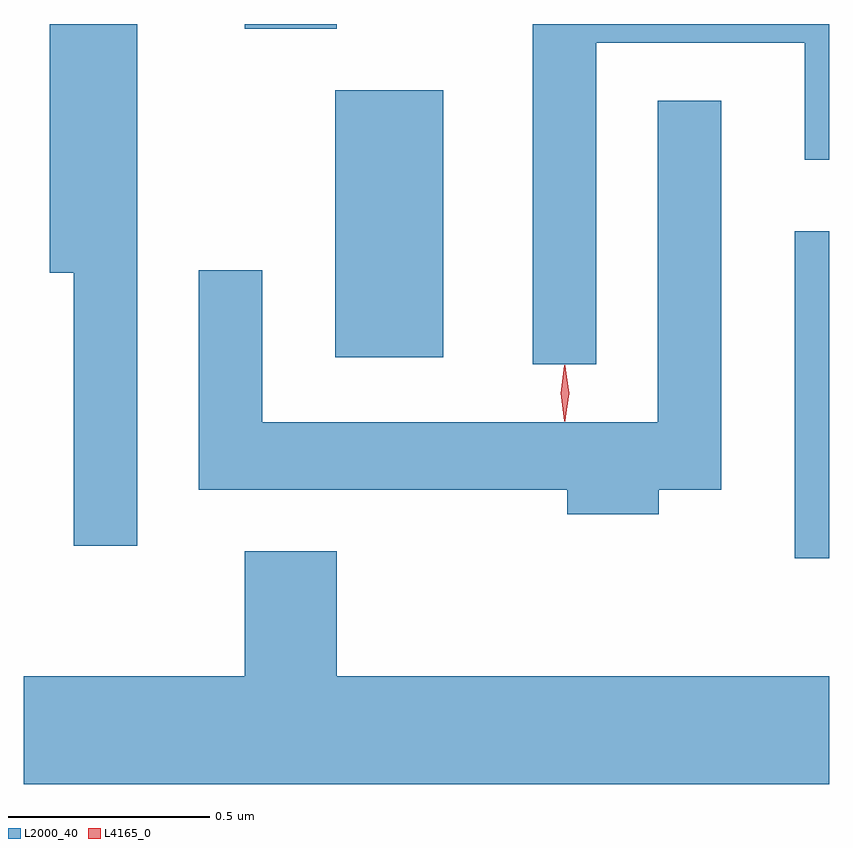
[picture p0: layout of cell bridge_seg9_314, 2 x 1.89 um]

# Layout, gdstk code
import gdstk
lib = gdstk.Library(unit=1e-6, precision=1e-09)
def R(c, l, rs):  # rectangles x0, y0, x1, y1
    for r in rs: c.add(gdstk.rectangle(r[:2], r[2:], *l))
def P(c, l, *ps):  # polygons
    for p in ps: c.add(gdstk.Polygon(p, *l))
L2000_40 = (2000, 40)
L4165_0 = (4165, 0)

bridge_seg9_314 = lib.new_cell('bridge_seg9_314')
R(bridge_seg9_314, L2000_40, [(988.226,2076.736,988.312,2077.549), (987.086,2077.236,987.354,2077.899), (986.861,2078.051,987.089,2078.063)])
P(bridge_seg9_314, L2000_40, [(987.734,2078.016),(988.251,2078.016),(988.251,2077.726),(988.312,2077.726),(988.312,2078.063),(987.576,2078.063),(987.576,2077.218),(987.734,2077.218)],
  [(986.594,2078.063),(986.376,2078.063),(986.376,2077.446),(986.436,2077.446),(986.436,2076.768),(986.594,2076.768)],
  [(987.889,2076.906),(988.044,2076.906),(988.044,2077.873),(987.886,2077.873),(987.886,2077.074),(986.904,2077.074),(986.904,2077.452),(986.746,2077.452),(986.746,2076.906),(987.661,2076.906),(987.661,2076.846),(987.889,2076.846)],
  [(988.312,2076.444),(987.089,2076.444),(987.089,2076.754),(986.861,2076.754),(986.861,2076.444),(986.312,2076.444),(986.312,2076.176),(988.312,2076.176)])
P(bridge_seg9_314, L4165_0, [(987.654,2077.077),(987.645,2077.146),(987.654,2077.216),(987.655,2077.216),(987.656,2077.216),(987.665,2077.146),(987.656,2077.077),(987.655,2077.077)],
  [(987.656,2077.079),(987.656,2077.08),(987.646,2077.146),(987.656,2077.212),(987.656,2077.213),(987.656,2077.212),(987.666,2077.146),(987.657,2077.08)])

lib.write_gds('bridge_seg9_314.gds')
